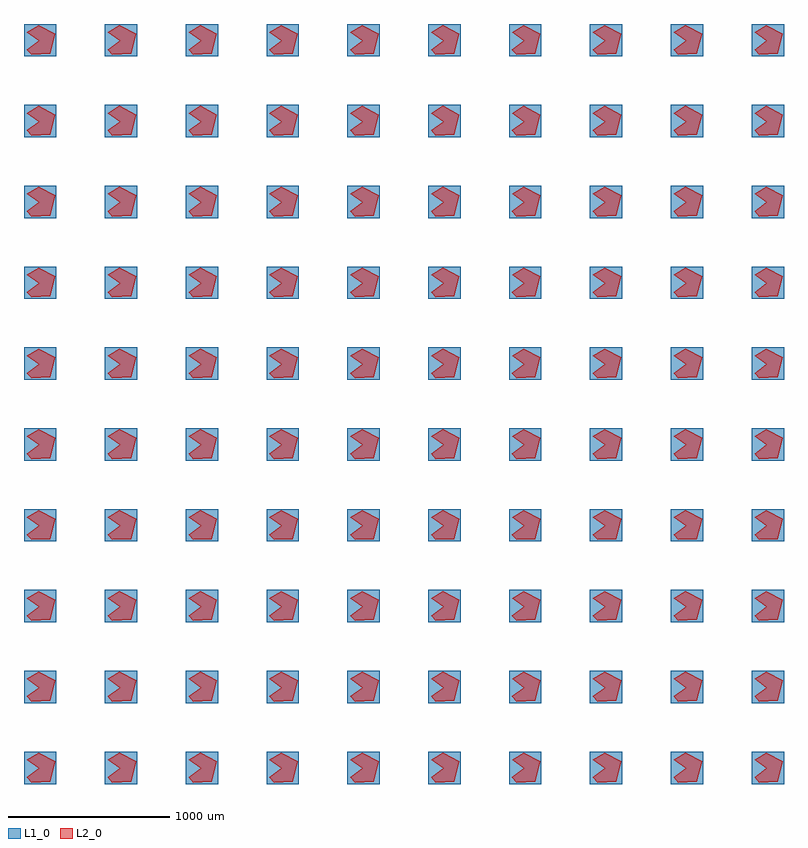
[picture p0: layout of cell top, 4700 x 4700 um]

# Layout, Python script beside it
#example processing of GDS stream files using gdspy
import gdspy
import numpy as np


class metrology_example(gdspy.Label):
    '''
    subclass label object to contain metrology parameters and generate,
    configuration files for automation measurement.
    '''
    def __init__(self,label,position,p0,p1,p2,layer=1):
        gdspy.Label.__init__(self,'{}:p0={},p1={},p2={}'.format(label,p0,p1,p2),position,layer=layer)#call the parent class constructor
        self.label = label
        self.parameters = {'p0':p0,'p1':p1,'p2':p2}


class metrology_manager_example:
    '''
    gather labels, extract parameters and place into configuration file
    '''
    def __init__(self):
        self.library = gdspy.current_library#get the current library

    def collect(self,library=None,cell='top'):
        if library is None:
            self.library = gdspy.current_library
        else:
            self.library = library
        print(self.library.cells[cell])
        top_cell = self.library.cells[cell].flatten()
        self.metrology_objects = [m for m in top_cell.get_labels() if type(m) is metrology_example]#get all metrology objects
    def generate(self,out_file):
        f = open(out_file,'w')
        f.write('{},{},{},{},{},{}\n'.format('structure','x','y','p0','p1','p2'))
        for line in self.metrology_objects:
            f.write('{},{},{},{},{},{}\n'.format(line.label,line.position[0],line.position[1],line.parameters['p0'],line.parameters['p1'],line.parameters['p2']))
        f.close()


lib = gdspy.GdsLibrary(infile='example.GDS')#load the example file file

#gather and print statistics about the file
print(lib)
print('Cells: {}'.format(len(lib.cells.keys())))
for k,c in lib.cells.items():
    print(k,c)


top = lib.cells['top']#get the top cell
test_structures = [ref for ref in top.references if ref.ref_cell.name=='dummy_ts']#extract all cell references to the dummy cell
cells = []
for i,test_structure in enumerate(test_structures):
    structure_name = 'test_structure{:02}'.format(i)
    cell=gdspy.Cell(structure_name)#create and name a new cell to replace the dummy cell
    cell.add(gdspy.Rectangle((-100,-100),(100,100),layer=1))#add the rectangle on layer 1
    cell.add(gdspy.Text('ICMTS',25,position=(0,0),layer=2))#add text to replace the polygon on layer 2
    parameters = np.random.rand(3)#generate some random parameters
    cell.add(metrology_example(structure_name,(0,0),*parameters))#encode parameters into the label
    test_structure.ref_cell = cell#switch the cell reference to new cell
    cells.append(cell)

#gdspy.LayoutViewer(cells = [top])
gdspy.write_gds('processed.GDS',cells = [top]+cells)
manager = metrology_manager_example()
manager.collect(library=lib)
manager.generate('metrology_configuration.csv')
